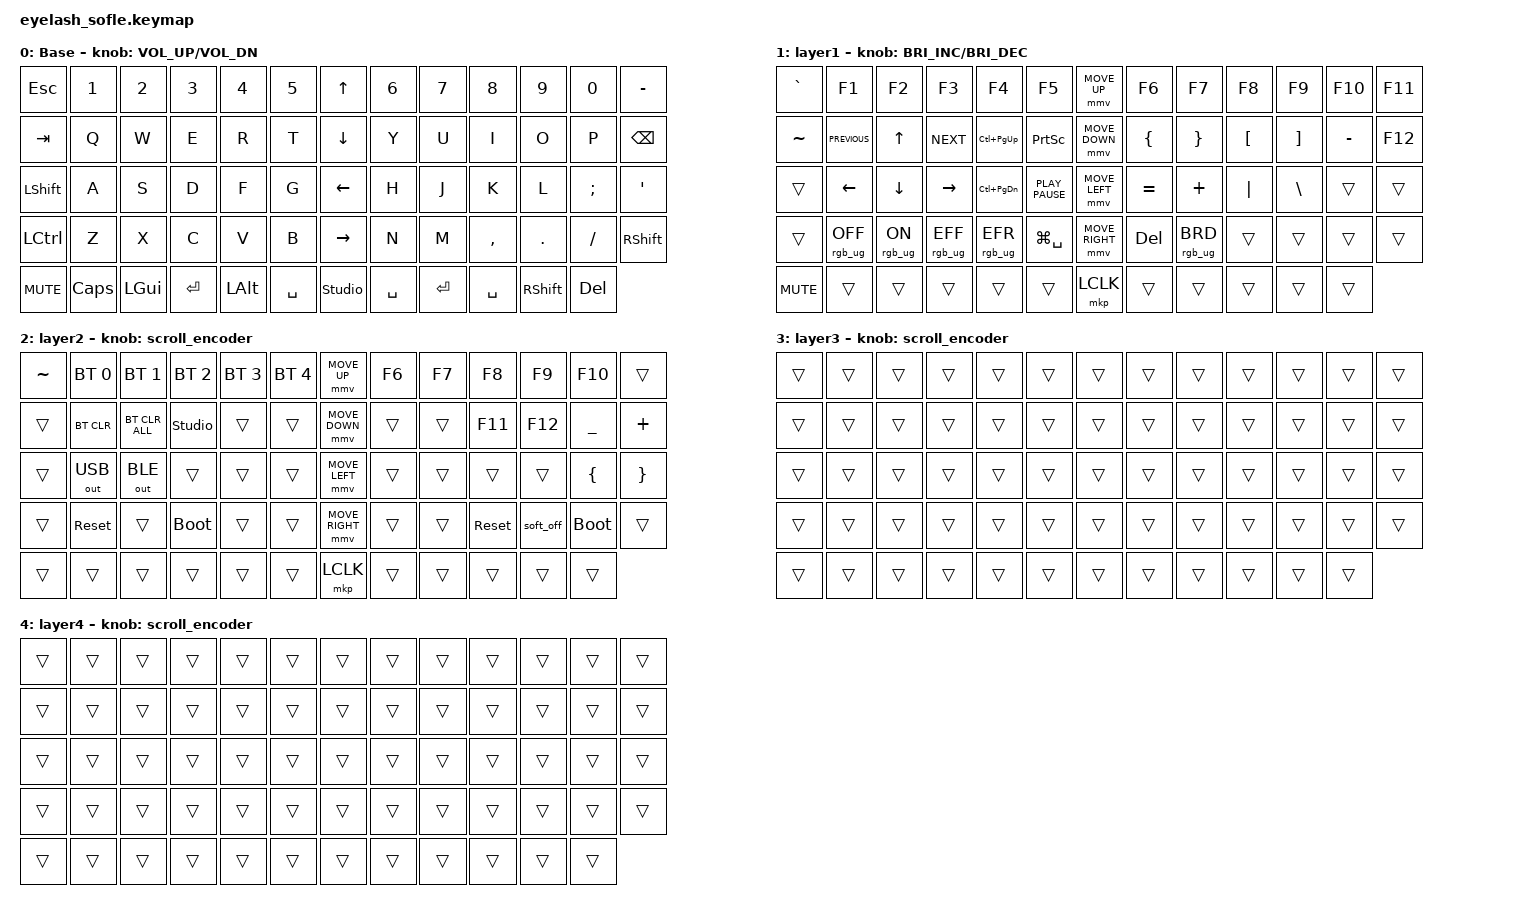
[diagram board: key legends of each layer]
#define ZMK_POINTING_DEFAULT_MOVE_VAL 1200  // 600
#define ZMK_POINTING_DEFAULT_SCRL_VAL 25   // 10

#include <input/processors.dtsi>
#include <zephyr/dt-bindings/input/input-event-codes.h>
#include <behaviors.dtsi>
#include <dt-bindings/zmk/bt.h>
#include <dt-bindings/zmk/keys.h>
#include <dt-bindings/zmk/outputs.h>
#include <dt-bindings/zmk/pointing.h>
#include <dt-bindings/zmk/rgb.h>

&mmv_input_listener { input-processors = <&zip_xy_scaler 2 1>; };

&msc_input_listener { input-processors = <&zip_scroll_scaler 2 1>; };

&msc {
    acceleration-exponent = <1>;      // 0
    time-to-max-speed-ms = <100>;       // 300
    delay-ms = <0>;                   // 0
};

&mmv {
    time-to-max-speed-ms = <500>;
    acceleration-exponent = <1>;
    trigger-period-ms = <16>;
};

&soft_off { hold-time-ms = <2000>; };

/ {
    scroll_encoder: scroll_encoder {
        compatible = "zmk,behavior-sensor-rotate";
        #sensor-binding-cells = <0>;
        bindings = <&msc SCRL_DOWN>, <&msc SCRL_UP>;

        tap-ms = <100>;
    };

    behaviors {
    };

    combos {
        compatible = "zmk,combos";

        softoff {
            bindings = <&soft_off>;
            key-positions = <14 28 40>;
        };
    };

    macros {
        SHIFT_MCLK: SHIFT_MCLK {
            compatible = "zmk,behavior-macro";
            #binding-cells = <0>;
            bindings =
                <&macro_press>,
                <&kp LEFT_SHIFT>,
                <&macro_press>,
                <&mkp MB3>,
                <&macro_pause_for_release>,
                <&macro_release>,
                <&kp LEFT_SHIFT &mkp MB3>;

            label = "SHIFT_MCLK";
        };
    };

    keymap {
        compatible = "zmk,keymap";

        Base {
            bindings = <
&kp ESC         &kp N1    &kp N2        &kp N3     &kp N4        &kp N5       &kp UP_ARROW     &kp N6     &kp N7     &kp N8     &kp N9           &kp N0      &kp MINUS
&kp TAB         &kp Q     &kp W         &kp E      &kp R         &kp T        &kp DOWN_ARROW   &kp Y      &kp U      &kp I      &kp O            &kp P       &kp BACKSPACE
&kp LEFT_SHIFT  &kp A     &kp S         &kp D      &kp F         &kp G        &kp LEFT_ARROW   &kp H      &kp J      &kp K      &kp L            &kp SEMI    &kp APOS
&kp LCTRL       &kp Z     &kp X         &kp C      &kp V         &kp B        &kp RIGHT_ARROW  &kp N      &kp M      &kp COMMA  &kp DOT          &kp FSLH    &kp RIGHT_SHIFT
&kp C_MUTE      &kp CAPS  &kp LEFT_GUI  &kp ENTER  &kp LEFT_ALT  &kp SPACE    &studio_unlock   &kp SPACE  &kp ENTER  &kp SPACE  &kp RIGHT_SHIFT  &kp DELETE
            >;

            sensor-bindings = <&inc_dec_kp C_VOLUME_UP C_VOL_DN>;
            display-name = "Base";
        };

        Main {
            bindings = <
&kp GRAVE   &kp F1           &kp F2          &kp F3           &kp F4             &kp F5              &mmv MOVE_UP     &kp F6          &kp F7           &kp F8            &kp F9             &kp F10    &kp F11
&kp TILDE   &kp C_PREVIOUS   &kp UP_ARROW    &kp C_NEXT       &kp LC(PAGE_UP)    &kp PRINTSCREEN     &mmv MOVE_DOWN   &kp LEFT_BRACE  &kp RIGHT_BRACE  &kp LEFT_BRACKET  &kp RIGHT_BRACKET  &kp MINUS  &kp F12
&trans      &kp LEFT_ARROW   &kp DOWN_ARROW  &kp RIGHT_ARROW  &kp LC(PAGE_DOWN)  &kp K_PLAY_PAUSE    &mmv MOVE_LEFT   &kp EQUAL       &kp PLUS         &kp PIPE          &kp BACKSLASH      &trans     &trans
&trans      &rgb_ug RGB_OFF  &rgb_ug RGB_ON  &rgb_ug RGB_EFF  &rgb_ug RGB_EFR    &kp LG(SPACE)       &mmv MOVE_RIGHT  &kp DEL         &rgb_ug RGB_BRD  &trans            &trans             &trans     &trans
&kp C_MUTE  &trans           &trans          &trans           &trans             &trans              &mkp LCLK        &trans          &trans           &trans            &trans             &trans
            >;

            display-name = "layer1";
            sensor-bindings = <&inc_dec_kp C_BRIGHTNESS_INC C_BRIGHTNESS_DEC>;
        };

        BT {
            bindings = <
&kp TILDE  &bt BT_SEL 0  &bt BT_SEL 1    &bt BT_SEL 2    &bt BT_SEL 3  &bt BT_SEL 4    &mmv MOVE_UP     &kp F6  &kp F7  &kp F8      &kp F9     &kp F10      &trans
&trans     &bt BT_CLR    &bt BT_CLR_ALL  &studio_unlock  &trans        &trans          &mmv MOVE_DOWN   &trans  &trans  &kp F11     &kp F12    &kp UNDER    &kp PLUS
&trans     &out OUT_USB  &out OUT_BLE    &trans          &trans        &trans          &mmv MOVE_LEFT   &trans  &trans  &trans      &trans     &kp LBRC     &kp RBRC
&trans     &sys_reset    &trans          &bootloader     &trans        &trans          &mmv MOVE_RIGHT  &trans  &trans  &sys_reset  &soft_off  &bootloader  &trans
&trans     &trans        &trans          &trans          &trans        &trans          &mkp LCLK        &trans  &trans  &trans      &trans     &trans
            >;

            display-name = "layer2";
            sensor-bindings = <&scroll_encoder>;
        };

        layer_3 {
            bindings = <
&trans  &trans  &trans  &trans  &trans  &trans    &trans  &trans  &trans  &trans  &trans  &trans  &trans
&trans  &trans  &trans  &trans  &trans  &trans    &trans  &trans  &trans  &trans  &trans  &trans  &trans
&trans  &trans  &trans  &trans  &trans  &trans    &trans  &trans  &trans  &trans  &trans  &trans  &trans
&trans  &trans  &trans  &trans  &trans  &trans    &trans  &trans  &trans  &trans  &trans  &trans  &trans
&trans  &trans  &trans  &trans  &trans  &trans    &trans  &trans  &trans  &trans  &trans  &trans
            >;

            display-name = "layer3";
            sensor-bindings = <&scroll_encoder>;
        };

        layer_4 {
            bindings = <
&trans  &trans  &trans  &trans  &trans  &trans    &trans  &trans  &trans  &trans  &trans  &trans  &trans
&trans  &trans  &trans  &trans  &trans  &trans    &trans  &trans  &trans  &trans  &trans  &trans  &trans
&trans  &trans  &trans  &trans  &trans  &trans    &trans  &trans  &trans  &trans  &trans  &trans  &trans
&trans  &trans  &trans  &trans  &trans  &trans    &trans  &trans  &trans  &trans  &trans  &trans  &trans
&trans  &trans  &trans  &trans  &trans  &trans    &trans  &trans  &trans  &trans  &trans  &trans
            >;

            display-name = "layer4";
            sensor-bindings = <&scroll_encoder>;
        };
    };
};
